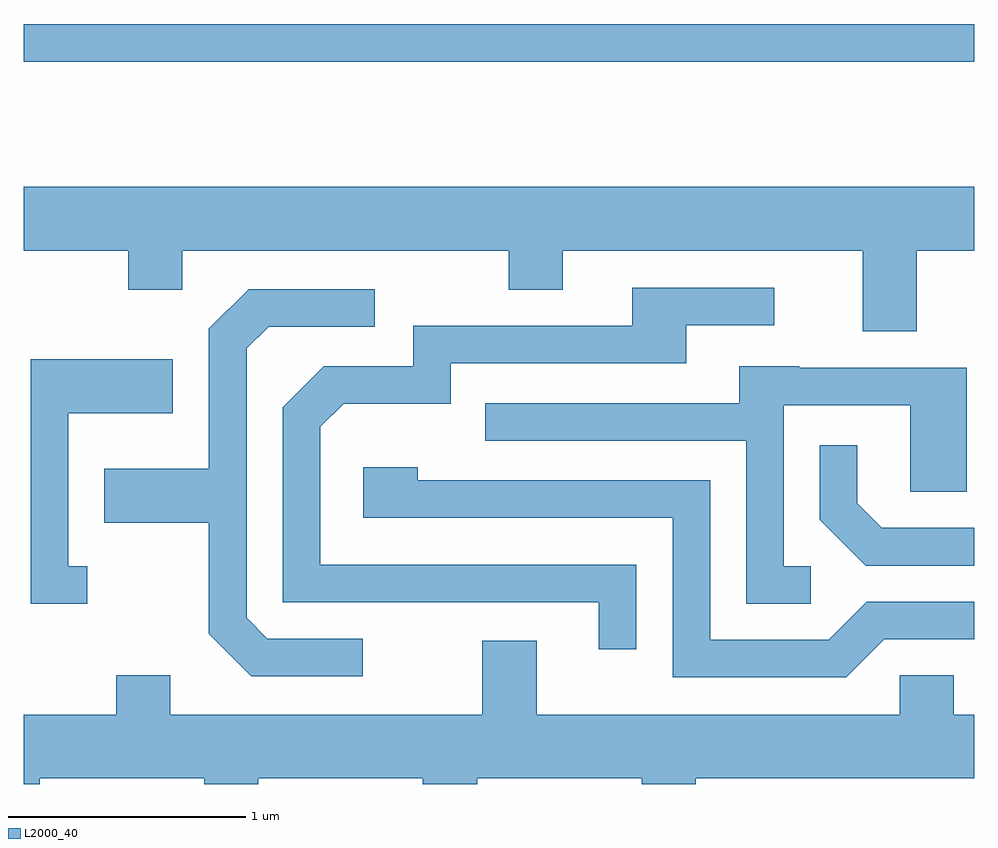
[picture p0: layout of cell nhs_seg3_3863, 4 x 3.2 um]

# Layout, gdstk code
import gdstk
lib = gdstk.Library(unit=1e-6, precision=1e-09)
def R(c, l, rs):  # rectangles x0, y0, x1, y1
    for r in rs: c.add(gdstk.rectangle(r[:2], r[2:], *l))
def P(c, l, *ps):  # polygons
    for p in ps: c.add(gdstk.Polygon(p, *l))
L2000_40 = (2000, 40)

nhs_seg3_3863 = lib.new_cell('nhs_seg3_3863')
R(nhs_seg3_3863, L2000_40, [(297.611,1228.931,301.611,1229.089)])
P(nhs_seg3_3863, L2000_40, [(301.369,1228.136),(301.611,1228.136),(301.611,1228.404),(297.611,1228.404),(297.611,1228.136),(298.051,1228.136),(298.051,1227.971),(298.279,1227.971),(298.279,1228.136),(299.651,1228.136),(299.651,1227.971),(299.879,1227.971),(299.879,1228.136),(301.141,1228.136),(301.141,1227.796),(301.369,1227.796)],
  [(300.189,1226.814),(298.859,1226.814),(298.859,1227.394),(298.957,1227.491),(299.409,1227.491),(299.409,1227.661),(300.399,1227.661),(300.399,1227.821),(300.768,1227.821),(300.768,1227.979),(300.171,1227.979),(300.171,1227.819),(299.251,1227.819),(299.251,1227.649),(298.874,1227.649),(298.701,1227.477),(298.701,1226.656),(300.031,1226.656),(300.031,1226.458),(300.189,1226.458)],
  [(299.038,1226.504),(298.637,1226.504),(298.549,1226.592),(298.549,1227.724),(298.642,1227.816),(299.088,1227.816),(299.088,1227.974),(298.559,1227.974),(298.391,1227.807),(298.391,1227.219),(297.951,1227.219),(297.951,1226.991),(298.391,1226.991),(298.391,1226.524),(298.569,1226.346),(299.038,1226.346)],
  [(297.878,1226.809),(297.799,1226.809),(297.799,1227.451),(298.239,1227.451),(298.239,1227.679),(297.641,1227.679),(297.641,1226.651),(297.878,1226.651)],
  [(300.923,1226.809),(300.809,1226.809),(300.809,1227.486),(301.341,1227.486),(301.341,1227.121),(301.579,1227.121),(301.579,1227.644),(300.875,1227.644),(300.875,1227.649),(300.621,1227.649),(300.621,1227.494),(299.553,1227.494),(299.553,1227.336),(300.651,1227.336),(300.651,1226.651),(300.923,1226.651)],
  [(301.611,1226.969),(301.222,1226.969),(301.119,1227.072),(301.119,1227.318),(300.961,1227.318),(300.961,1227.004),(301.154,1226.811),(301.611,1226.811)],
  [(301.232,1226.501),(301.611,1226.501),(301.611,1226.659),(301.159,1226.659),(300.999,1226.499),(300.499,1226.499),(300.499,1227.169),(299.269,1227.169),(299.269,1227.224),(299.041,1227.224),(299.041,1227.011),(300.341,1227.011),(300.341,1226.341),(301.072,1226.341)],
  [(297.679,1225.916),(298.371,1225.916),(298.371,1225.892),(298.599,1225.892),(298.599,1225.916),(299.291,1225.916),(299.291,1225.892),(299.519,1225.892),(299.519,1225.916),(300.211,1225.916),(300.211,1225.892),(300.439,1225.892),(300.439,1225.916),(301.611,1225.916),(301.611,1226.184),(301.524,1226.184),(301.524,1226.349),(301.296,1226.349),(301.296,1226.184),(299.769,1226.184),(299.769,1226.494),(299.541,1226.494),(299.541,1226.184),(298.229,1226.184),(298.229,1226.349),(298.001,1226.349),(298.001,1226.184),(297.611,1226.184),(297.611,1225.892),(297.679,1225.892)])

lib.write_gds('nhs_seg3_3863.gds')
